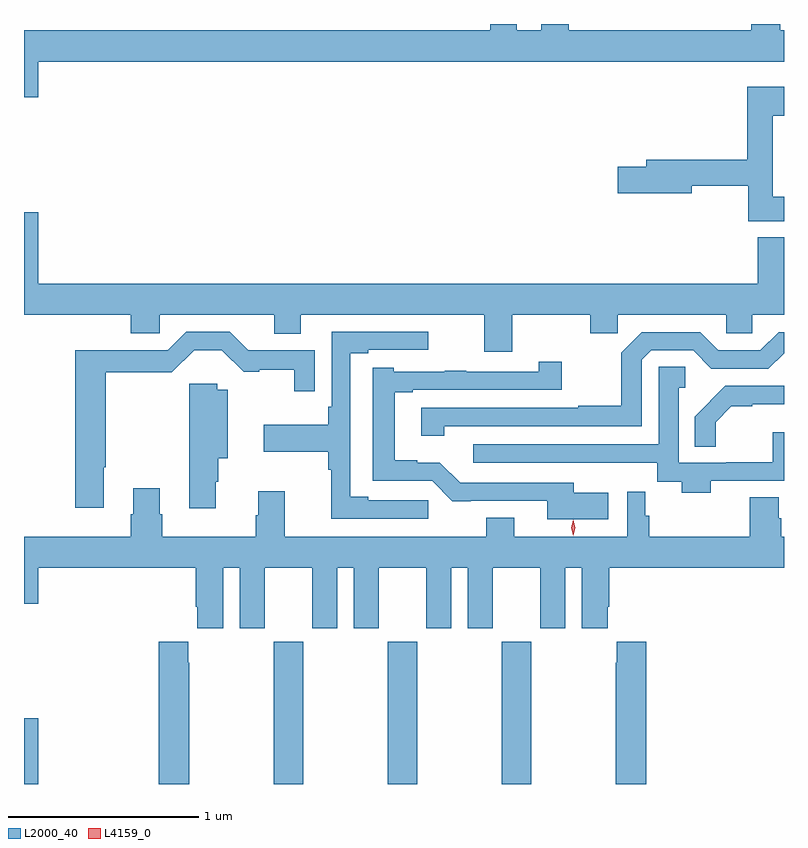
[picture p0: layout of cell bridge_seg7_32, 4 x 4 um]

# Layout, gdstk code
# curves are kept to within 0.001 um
import gdstk
lib = gdstk.Library(unit=1e-6, precision=1e-09)
def R(c, l, rs):  # rectangles x0, y0, x1, y1
    for r in rs: c.add(gdstk.rectangle(r[:2], r[2:], *l))
def A(c, l, x, y, w, h, nx, ny, dx, dy):  # array of equal rectangles
    R(c, l, [(x+i*dx, y+j*dy, x+i*dx+w, y+j*dy+h) for i in range(nx) for j in range(ny)])
def P(c, l, *ps):  # polygons
    for p in ps: c.add(gdstk.Polygon(p, *l))
L2000_40 = (2000, 40)
L4159_0 = (4159, 0)

bridge_seg7_32 = lib.new_cell('bridge_seg7_32')
A(bridge_seg7_32, L2000_40, 933.643, 1063.414, 0.155, 0.75, 3, 1, 0.6, 0)
R(bridge_seg7_32, L2000_40, [(932.328,1063.414,932.404,1063.759)])
P(bridge_seg7_32, L2000_40, [(932.404,1067.216),(936.328,1067.216),(936.328,1067.38),(936.308,1067.38),(936.308,1067.414),(936.155,1067.414),(936.155,1067.38),(935.195,1067.38),(935.195,1067.414),(935.051,1067.414),(935.051,1067.38),(934.921,1067.38),(934.921,1067.414),(934.781,1067.414),(934.781,1067.38),(932.328,1067.38),(932.328,1067.028),(932.404,1067.028)],
  [(936.328,1066.504),(936.268,1066.504),(936.268,1066.931),(936.328,1066.931),(936.328,1067.083),(936.134,1067.083),(936.134,1066.7),(935.603,1066.7),(935.603,1066.664),(935.454,1066.664),(935.454,1066.522),(935.842,1066.522),(935.842,1066.564),(936.139,1066.564),(936.139,1066.376),(936.328,1066.376)],
  [(934.899,1065.884),(935.308,1065.884),(935.308,1065.786),(935.453,1065.786),(935.453,1065.884),(936.024,1065.884),(936.024,1065.786),(936.162,1065.786),(936.162,1065.884),(936.328,1065.884),(936.328,1066.291),(936.191,1066.291),(936.191,1066.048),(932.404,1066.048),(932.404,1066.423),(932.328,1066.423),(932.328,1065.884),(932.891,1065.884),(932.891,1065.786),(933.042,1065.786),(933.042,1065.884),(933.644,1065.884),(933.644,1065.785),(933.784,1065.785),(933.784,1065.884),(934.751,1065.884),(934.751,1065.69),(934.899,1065.69)],
  [(934.456,1064.907),(934.141,1064.907),(934.141,1064.927),(934.044,1064.927),(934.044,1065.681),(934.141,1065.681),(934.141,1065.699),(934.456,1065.699),(934.456,1065.795),(933.948,1065.795),(933.948,1065.4),(933.928,1065.4),(933.928,1065.304),(933.591,1065.304),(933.591,1065.164),(933.928,1065.164),(933.928,1065.068),(933.946,1065.068),(933.946,1064.811),(934.456,1064.811)],
  [(932.749,1065.08),(932.757,1065.08),(932.757,1065.58),(933.106,1065.58),(933.224,1065.698),(933.369,1065.698),(933.484,1065.583),(933.565,1065.583),(933.565,1065.595),(933.75,1065.595),(933.75,1065.48),(933.858,1065.48),(933.858,1065.698),(933.509,1065.698),(933.411,1065.795),(933.183,1065.795),(933.084,1065.696),(932.845,1065.696),(932.845,1065.698),(932.597,1065.698),(932.597,1064.868),(932.749,1064.868)],
  [(934.539,1065.297),(935.58,1065.297),(935.58,1065.648),(935.628,1065.696),(935.85,1065.696),(935.946,1065.6),(936.246,1065.6),(936.328,1065.682),(936.328,1065.792),(936.3,1065.792),(936.204,1065.696),(935.982,1065.696),(935.886,1065.792),(935.58,1065.792),(935.472,1065.683),(935.472,1065.406),(935.245,1065.406),(935.245,1065.393),(934.419,1065.393),(934.419,1065.246),(934.539,1065.246)],
  [(935.404,1064.947),(935.221,1064.947),(935.221,1065),(934.623,1065),(934.517,1065.106),(934.398,1065.106),(934.398,1065.118),(934.279,1065.118),(934.279,1065.477),(934.375,1065.477),(934.375,1065.489),(935.158,1065.489),(935.158,1065.637),(935.037,1065.637),(935.037,1065.585),(934.655,1065.585),(934.655,1065.59),(934.543,1065.59),(934.543,1065.585),(934.275,1065.585),(934.275,1065.604),(934.163,1065.604),(934.163,1065.009),(934.476,1065.009),(934.583,1064.903),(935.081,1064.904),(935.081,1064.807),(935.404,1064.807)],
  [(935.942,1065.009),(936.328,1065.009),(936.328,1065.265),(936.268,1065.265),(936.268,1065.107),(936.025,1065.107),(936.025,1065.105),(935.773,1065.105),(935.773,1065.5),(935.808,1065.5),(935.808,1065.611),(935.67,1065.611),(935.67,1065.503),(935.669,1065.503),(935.669,1065.201),(934.692,1065.201),(934.692,1065.105),(935.391,1065.105),(935.391,1065.104),(935.66,1065.104),(935.66,1065.005),(935.789,1065.005),(935.789,1064.948),(935.942,1064.948)],
  [(933.337,1065.005),(933.35,1065.005),(933.35,1065.128),(933.4,1065.128),(933.4,1065.49),(933.345,1065.49),(933.345,1065.52),(933.197,1065.52),(933.197,1064.865),(933.337,1064.865)],
  [(935.968,1065.319),(936.051,1065.402),(936.16,1065.402),(936.16,1065.413),(936.328,1065.413),(936.328,1065.51),(936.02,1065.51),(935.941,1065.431),(935.942,1065.43),(935.858,1065.347),(935.858,1065.19),(935.968,1065.19)],
  [(933.376,1064.552),(933.464,1064.552),(933.464,1064.235),(933.595,1064.235),(933.595,1064.552),(933.845,1064.552),(933.845,1064.235),(933.976,1064.235),(933.976,1064.552),(934.064,1064.552),(934.064,1064.235),(934.195,1064.235),(934.195,1064.552),(934.445,1064.552),(934.445,1064.235),(934.576,1064.235),(934.576,1064.552),(934.664,1064.552),(934.664,1064.235),(934.795,1064.235),(934.795,1064.552),(935.045,1064.552),(935.045,1064.235),(935.176,1064.235),(935.176,1064.552),(935.264,1064.552),(935.264,1064.235),(935.401,1064.235),(935.401,1064.347),(935.408,1064.347),(935.408,1064.552),(936.328,1064.552),(936.328,1064.716),(936.314,1064.716),(936.314,1064.814),(936.301,1064.814),(936.301,1064.924),(936.149,1064.924),(936.149,1064.716),(935.618,1064.716),(935.618,1064.826),(935.599,1064.826),(935.599,1064.953),(935.502,1064.953),(935.502,1064.716),(934.909,1064.716),(934.909,1064.815),(934.762,1064.815),(934.762,1064.716),(933.7,1064.716),(933.7,1064.956),(933.56,1064.956),(933.56,1064.828),(933.548,1064.828),(933.548,1064.716),(933.056,1064.716),(933.056,1064.835),(933.043,1064.835),(933.043,1064.971),(932.903,1064.971),(932.903,1064.835),(932.891,1064.835),(932.891,1064.716),(932.328,1064.716),(932.328,1064.364),(932.404,1064.364),(932.404,1064.552),(933.233,1064.552),(933.233,1064.347),(933.239,1064.347),(933.239,1064.235),(933.376,1064.235)],
  [(935.603,1064.164),(935.447,1064.164),(935.447,1064.051),(935.443,1064.051),(935.443,1063.414),(935.603,1063.414)],
  [(933.198,1064.051),(933.193,1064.051),(933.193,1064.164),(933.038,1064.164),(933.038,1063.414),(933.198,1063.414)])
P(bridge_seg7_32, L4159_0, [(935.218,1064.721),(935.218,1064.721),(935.208,1064.762),(935.218,1064.803),(935.218,1064.804),(935.218,1064.803),(935.228,1064.762),(935.218,1064.721)])

lib.write_gds('bridge_seg7_32.gds')
